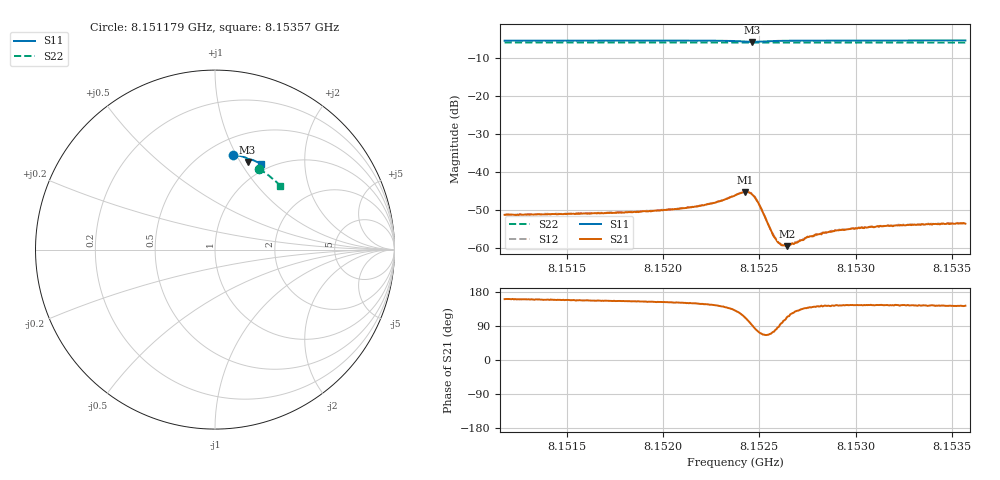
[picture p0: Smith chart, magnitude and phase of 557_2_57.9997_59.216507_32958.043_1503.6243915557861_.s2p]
#  HZ  S  RI  R  50.00
! Rohde & Schwarz Vector Network Analyzer
! Rohde-Schwarz,ZNB20-2Port,1311601062101988,3.16
! Created: UTC 3/21/2024, 1:15:15 AM
! freq[Hz]  re:S11  im:S11  re:S21  im:S21  re:S12  im:S12  re:S22  im:S22
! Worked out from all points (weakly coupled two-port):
!   401 points, 8.151179 GHz to 8.15357 GHz, reference 50 ohm
!   highest |S21| = -45.26 dB at 8.152428 GHz (marker M1); lowest = -59.6 dB at 8.152643 GHz (marker M2)
!   lowest |S11| = -5.7 dB at 8.152464 GHz (marker M3), VSWR 3.17, Z = 40.2 + j53.7 ohm
!   |S11| at or under -10 dB: nowhere
!   |S22| runs from -5.9 to -5.8 dB; largest |S21 - S12| = 0.00013
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8.1511786e9  0.1025 0.5297  -0.00257 0.000901  -0.00256 0.000935  0.2436 0.4497
8.1515792e9  0.1303 0.5242  -0.00261 0.0011  -0.00259 0.00116  0.2657 0.4363
8.1519798e9  0.1585 0.5166  -0.00277 0.00141  -0.00274 0.00146  0.287 0.4221
8.1522011e9  0.1751 0.5105  -0.00307 0.00192  -0.00307 0.00197  0.2985 0.4137
8.1522668e9  0.1806 0.5078  -0.00321 0.00226  -0.00317 0.00231  0.3019 0.4111
8.1523744e9  0.1891 0.4988  -0.00321 0.00372  -0.00319 0.00379  0.3071 0.4066
8.1524283e9  0.1881 0.4901  -0.002 0.00508  -0.00193 0.00515  0.3095 0.4043
8.1524462e9  0.1853 0.4878  -0.00111 0.00527  -0.00105 0.0053  0.3105 0.4036
8.1524641e9  0.1815 0.4876  -0.000118 0.00503  -4.23e-05 0.00511  0.3108 0.4028
8.1524821e9  0.1782 0.4896  0.000709 0.00436  0.000779 0.00442  0.3116 0.4023
8.1525e9  0.1768 0.4928  0.0011 0.00354  0.00117 0.00354  0.3126 0.4019
8.1525598e9  0.1812 0.5012  0.000618 0.00163  0.000623 0.0016  0.3157 0.3997
8.1525837e9  0.184 0.5025  0.000245 0.00131  0.000267 0.00132  0.317 0.3989
8.1526016e9  0.1861 0.503  5.57e-05 0.00116  4.41e-05 0.00115  0.3178 0.3981
8.1526136e9  0.1876 0.5033  -0.000125 0.00108  -8.22e-05 0.0011  0.3186 0.3976
8.1526435e9  0.1907 0.5032  -0.000406 0.000968  -0.0004 0.001  0.3201 0.3964
8.1526913e9  0.1953 0.5029  -0.000731 0.000908  -0.000707 0.000944  0.3224 0.3945
8.1527511e9  0.2005 0.5018  -0.00104 0.000936  -0.00103 0.000944  0.3254 0.3919
8.152775e9  0.2024 0.5013  -0.00108 0.000921  -0.00106 0.000918  0.3266 0.391
8.1529066e9  0.2125 0.498  -0.00138 0.000996  -0.00135 0.00105  0.3328 0.3854
8.1531756e9  0.2307 0.4907  -0.00157 0.00114  -0.00157 0.00114  0.3454 0.3737
8.1535702e9  0.2561 0.4788  -0.00167 0.00124  -0.00168 0.00131  0.3629 0.3561
